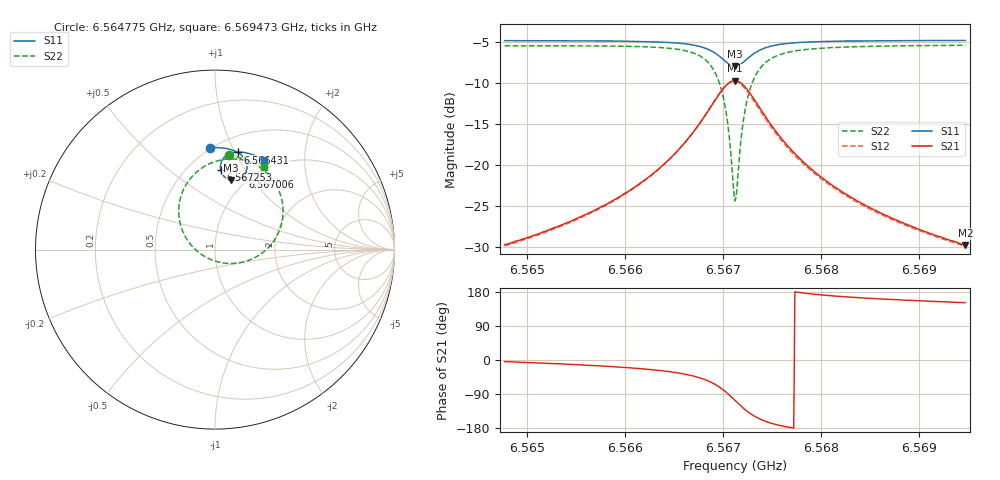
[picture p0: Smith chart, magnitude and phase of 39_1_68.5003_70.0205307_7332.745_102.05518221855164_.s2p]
#  HZ  S  RI  R  50.00
! Rohde & Schwarz Vector Network Analyzer
! Rohde-Schwarz,ZNB20-2Port,1311601062101988,3.16
! Created: UTC 3/20/2024, 4:50:15 PM
! freq[Hz]  re:S11  im:S11  re:S21  im:S21  re:S12  im:S12  re:S22  im:S22
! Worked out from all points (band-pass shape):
!   401 points, 6.564775 GHz to 6.569473 GHz, reference 50 ohm
!   highest |S21| = -9.76 dB at 6.567124 GHz (marker M1); lowest = -29.8 dB at 6.569473 GHz (marker M2)
!   |S21| within 3 dB of the highest: 6.566888 GHz to 6.567358 GHz (470 kHz wide, 0.00716 % of centre)
!   lowest |S11| = -8.0 dB at 6.567124 GHz (marker M3), VSWR 2.32, Z = 42.8 + j39.3 ohm
!   |S11| at or under -10 dB: nowhere
!   |S22| runs from -24.4 to -5.4 dB; largest |S21 - S12| = 0.017
!   S11 on the Smith chart (normalised r, x): 6.564775 GHz: 0.49, +0.82; 6.566431 GHz: 0.65, +1.03; 6.567006 GHz: 0.92, +0.93; 6.567253 GHz: 0.71, +0.78; 6.569473 GHz: 0.86, +1.29
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6.5647748e9  -0.029 0.5687  0.0324 -0.00239  0.0319 -0.00292  0.0754 0.5244
6.5655617e9  0.0376 0.5667  0.0473 -0.011  0.0465 -0.0115  0.1569 0.5054
6.5660197e9  0.0809 0.559  0.0637 -0.0234  0.0629 -0.0241  0.2185 0.4787
6.5663486e9  0.1168 0.5465  0.0839 -0.0437  0.0829 -0.0448  0.2782 0.4368
6.5664308e9  0.1268 0.5413  0.0907 -0.0524  0.0894 -0.0536  0.296 0.4194
6.5666539e9  0.1562 0.5177  0.1124 -0.0932  0.1108 -0.0952  0.351 0.3396
6.5668301e9  0.1767 0.4782  0.1223 -0.1629  0.119 -0.1668  0.3793 0.2046
6.5669358e9  0.1753 0.438  0.101 -0.2337  0.0939 -0.2386  0.3414 0.07
6.5670062e9  0.1569 0.4073  0.0543 -0.2863  0.0427 -0.2899  0.2525 -0.0267
6.5670532e9  0.1335 0.3911  0.00264 -0.3117  -0.0117 -0.3122  0.1557 -0.0697
6.5671002e9  0.1029 0.3851  -0.0607 -0.3178  -0.0765 -0.3131  0.0397 -0.0735
6.5671237e9  0.0868 0.3871  -0.0934 -0.3114  -0.1086 -0.3038  -0.0181 -0.0574
6.5671472e9  0.0715 0.3925  -0.1242 -0.2986  -0.1379 -0.2884  -0.0708 -0.0301
6.5672059e9  0.0428 0.4177  -0.1824 -0.2464  -0.1906 -0.2322  -0.1653 0.0714
6.5672529e9  0.0318 0.443  -0.2061 -0.1962  -0.2095 -0.182  -0.1976 0.1626
6.5673468e9  0.035 0.4869  -0.2076 -0.1115  -0.2055 -0.1005  -0.1851 0.3107
6.5674878e9  0.0623 0.5232  -0.1714 -0.0412  -0.1674 -0.0353  -0.1071 0.4281
6.5676522e9  0.0942 0.5392  -0.1319 -0.00802  -0.1285 -0.0047  -0.025 0.481
6.5679105e9  0.133 0.5441  -0.0926 0.00953  -0.0903 0.011  0.0619 0.5037
6.5682394e9  0.1706 0.5398  -0.0653 0.0153  -0.0637 0.016  0.1315 0.5035
6.5686974e9  0.2127 0.528  -0.0452 0.0164  -0.0441 0.0167  0.1961 0.4906
6.5694725e9  0.2731 0.5016  -0.0285 0.0154  -0.0278 0.0157  0.2721 0.4596
